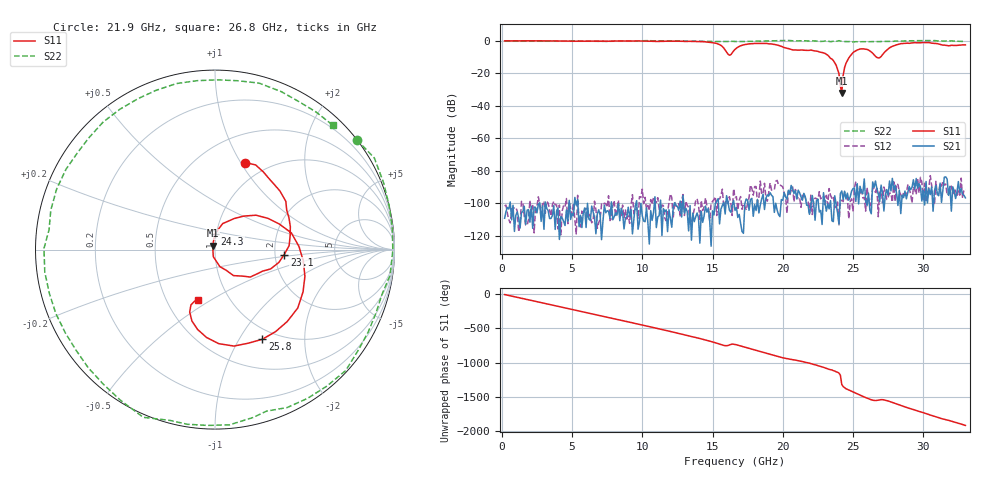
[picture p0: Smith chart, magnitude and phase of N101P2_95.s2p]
# GHZ S RI R 50
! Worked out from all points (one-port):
!   329 points, 200 MHz to 33 GHz, reference 50 ohm
!   lowest |S11| = -32.0 dB at 24.2 GHz (marker M1), VSWR 1.05, Z = 48.7 + j2.09 ohm
!   |S11| at or under -10 dB: 23.33 GHz to 24.74 GHz (1.412 GHz wide, 5.88 % of centre); 26.67 GHz to 26.95 GHz (278.6 MHz wide, 1.04 % of centre)
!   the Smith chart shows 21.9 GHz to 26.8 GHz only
!   S11 on the Smith chart (normalised r, x): 21.9 GHz: 0.79, +1.05; 23.1 GHz: 2.25, -0.15; 24.3 GHz: 0.98, +0.17; 25.8 GHz: 0.86, -1.26; 26.8 GHz: 0.71, -0.44
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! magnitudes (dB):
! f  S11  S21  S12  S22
! 200 MHz  0.0  -109.3  -101.7  0.0
! 5.7 GHz  -0.2  -115.1  -104.9  -0.2
! 11.2 GHz  -0.3  -107.7  -103.3  0.0
! 15.2 GHz  -1.4  -100.3  -96.1  -0.4
! 16.2 GHz  -8.8  -104.4  -96.0  -0.4
! 16.6 GHz  -5.2  -104.5  -96.7  -0.4
! 17.2 GHz  -2.4  -118.6  -100.3  -0.3
! 18.8 GHz  -1.5  -97.0  -96.6  0.0
! 21.9 GHz  -5.8  -106.9  -106.1  0.0
! 22.1 GHz  -5.9  -95.3  -107.0  0.1
! 23.1 GHz  -8.3  -105.0  -95.3  -0.1
! 23.8 GHz  -15.0  -100.8  -102.1  -0.1
! 24 GHz  -20.1  -112.9  -113.4  0.1
! 24.2 GHz  -32.0  -92.5  -98.2  -0.2
! 24.3 GHz  -21.2  -97.8  -99.0  -0.3
! 24.5 GHz  -13.8  -97.4  -95.2  -0.4
! 24.8 GHz  -9.3  -96.2  -99.1  -0.4
! 25.8 GHz  -5.0  -85.1  -96.4  -0.5
! 26.8 GHz  -10.5  -94.1  -108.4  -0.4
! 27.6 GHz  -4.3  -86.4  -93.9  -0.3
! 29.4 GHz  -1.1  -91.3  -91.8  -0.1
! 33 GHz  -2.5  -96.7  -91.6  -0.4
